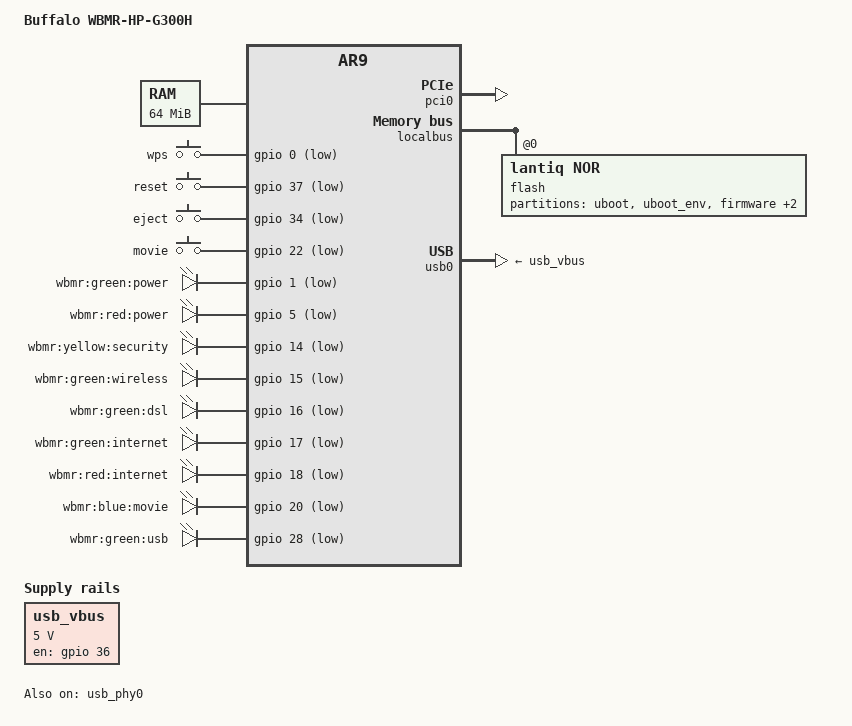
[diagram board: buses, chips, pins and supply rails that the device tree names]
/dts-v1/;

#include "ar9.dtsi"

#include <dt-bindings/input/input.h>

/ {
	compatible = "buffalo,wbmr-hp-g300h", "lantiq,xway", "lantiq,ar9";
	model = "Buffalo WBMR-HP-G300H";

	chosen {
		bootargs = "console=ttyLTQ0,115200";
	};

	aliases {
		led-boot = &power_green;
		led-failsafe = &power_red;
		led-running = &power_green;
		led-upgrade = &power_green;

		led-dsl = &dsl;
		led-internet = &online_green;
		led-usb = &led_usb;
		led-wifi = &wifi;
	};

	memory@0 {
		device_type = "memory";
		reg = <0x0 0x4000000>;
	};

	keys {
		compatible = "gpio-keys-polled";
		poll-interval = <100>;

		wps {
			label = "wps";
			gpios = <&gpio 0 GPIO_ACTIVE_LOW>;
			linux,code = <KEY_WPS_BUTTON>;
		};
		reset {
			label = "reset";
			gpios = <&gpio 37 GPIO_ACTIVE_LOW>;
			linux,code = <KEY_RESTART>;
		};
		eject {
			label = "eject";
			gpios = <&gpio 34 GPIO_ACTIVE_LOW>;
			linux,code = <KEY_EJECTCD>;
		};
		movie {
			label = "movie";
			gpios = <&gpio 22 GPIO_ACTIVE_LOW>;
			linux,code = <KEY_VIDEO>;
		};
	};

	leds {
		compatible = "gpio-leds";

		power_green: power {
			label = "wbmr:green:power";
			gpios = <&gpio 1 GPIO_ACTIVE_LOW>;
			default-state = "keep";
		};
		power_red: power2 {
			label = "wbmr:red:power";
			gpios = <&gpio 5 GPIO_ACTIVE_LOW>;
		};
		security {
			label = "wbmr:yellow:security";
			gpios = <&gpio 14 GPIO_ACTIVE_LOW>;
		};
		wifi: wifi {
			label = "wbmr:green:wireless";
			gpios = <&gpio 15 GPIO_ACTIVE_LOW>;
		};
		dsl: dsl {
			label = "wbmr:green:dsl";
			gpios = <&gpio 16 GPIO_ACTIVE_LOW>;
		};
		online_green: online {
			label = "wbmr:green:internet";
			gpios = <&gpio 17 GPIO_ACTIVE_LOW>;
		};
		online2 {
			label = "wbmr:red:internet";
			gpios = <&gpio 18 GPIO_ACTIVE_LOW>;
		};
		movie {
			label = "wbmr:blue:movie";
			gpios = <&gpio 20 GPIO_ACTIVE_LOW>;
		};
		led_usb: usb {
			label = "wbmr:green:usb";
			gpios = <&gpio 28 GPIO_ACTIVE_LOW>;
			default-state = "on";
		};
	};

	usb_vbus: regulator-usb-vbus {
		compatible = "regulator-fixed";

		regulator-name = "USB_VBUS";

		regulator-min-microvolt = <5000000>;
		regulator-max-microvolt = <5000000>;

		gpio = <&gpio 36 GPIO_ACTIVE_HIGH>;
		enable-active-high;
	};
};

&gpio {
	pinctrl-names = "default";
	pinctrl-0 = <&state_default>;

	state_default: pinmux {
		pci-in {
			lantiq,groups = "req1";
			lantiq,output = <0>;
			lantiq,open-drain = <1>;
			lantiq,pull = <2>;
		};
		pci-out {
			lantiq,groups = "gnt1";
			lantiq,output = <1>;
			lantiq,pull = <0>;
		};
		pci_rst {
			lantiq,pins = "io21";
			lantiq,pull = <0>;
			lantiq,output = <1>;
		};
	};
};

&gsw {
	phy-mode = "rgmii";
	mtd-mac-address = <&boardconfig 0x10024>;
};

&pci0 {
	status = "okay";
};

&localbus {
	flash@0 {
		compatible = "lantiq,nor";
		bank-width = <2>;
		reg = <0 0x0 0x2000000>;

		partitions {
			compatible = "fixed-partitions";
			#address-cells = <1>;
			#size-cells = <1>;

			partition@0 {
				label = "uboot";
				reg = <0x00000 0x40000>;
				read-only;
			};

			partition@40000 {
				label = "uboot_env";
				reg = <0x40000 0x20000>;
				read-only;
			};

			partition@20000 {
				label = "firmware";
				reg = <0x60000 0x1f20000>;
			};

			boardconfig: partition@1fc0000 {
				label = "board";
				reg = <0x1fc0000 0x20000>;
				read-only;
			};

			partition@1fe0000 {
				label = "calibration";
				reg = <0x1fe0000 0x20000>;
				read-only;
			};
		};
	};
};

&usb_phy0 {
	status = "okay";
};

&usb0 {
	status = "okay";
	vbus-supply = <&usb_vbus>;
};
